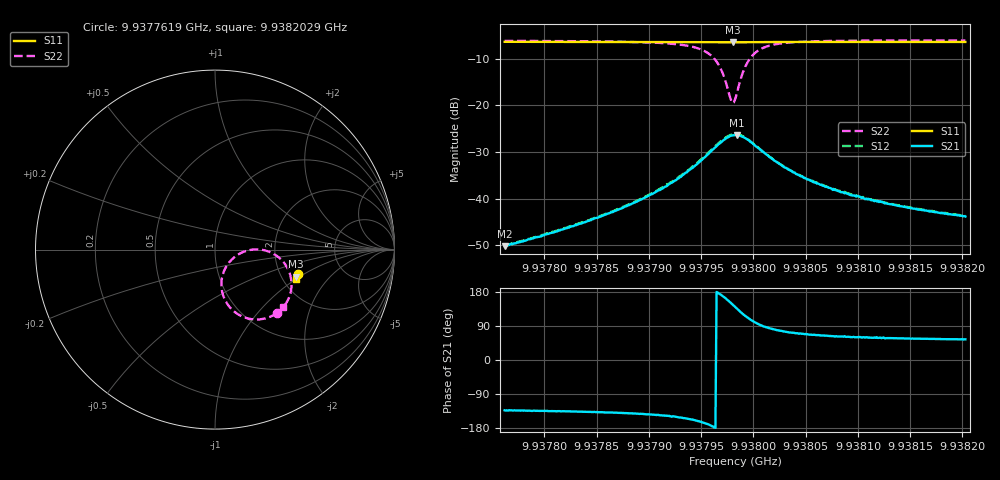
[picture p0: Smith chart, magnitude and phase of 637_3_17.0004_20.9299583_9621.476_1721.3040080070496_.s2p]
#  HZ  S  RI  R  50.00
! Rohde & Schwarz Vector Network Analyzer
! Rohde-Schwarz,ZNB20-2Port,1311601062101988,3.16
! Created: UTC 3/20/2024, 11:20:41 PM
! freq[Hz]  re:S11  im:S11  re:S21  im:S21  re:S12  im:S12  re:S22  im:S22
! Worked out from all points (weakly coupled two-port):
!   401 points, 9.9377619 GHz to 9.9382029 GHz, reference 50 ohm
!   highest |S21| = -26.34 dB at 9.9379846 GHz (marker M1); lowest = -50.2 dB at 9.9377619 GHz (marker M2)
!   lowest |S11| = -6.5 dB at 9.9379802 GHz (marker M3), VSWR 2.81, Z = 119 - j46.4 ohm
!   |S11| at or under -10 dB: nowhere
!   |S22| runs from -19.5 to -6.1 dB; largest |S21 - S12| = 0.0022
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9.93776187e9  0.4613 -0.1386  -0.00209 -0.00226  -0.00214 -0.00226  0.3449 -0.3529
9.93783573e9  0.4592 -0.1437  -0.00391 -0.00374  -0.00408 -0.00376  0.3241 -0.3657
9.93787432e9  0.458 -0.1466  -0.00603 -0.00509  -0.00622 -0.00513  0.3033 -0.3754
9.9379096e9  0.4567 -0.1491  -0.0101 -0.007  -0.0104 -0.00694  0.2663 -0.3862
9.93794047e9  0.4549 -0.1515  -0.0193 -0.00826  -0.0198 -0.00821  0.1898 -0.3851
9.93795811e9  0.4529 -0.1524  -0.0309 -0.00467  -0.0317 -0.00408  0.0998 -0.339
9.93796362e9  0.4522 -0.1525  -0.0355 -0.000626  -0.0366 0.000283  0.0663 -0.2993
9.93796803e9  0.4515 -0.1521  -0.0391 0.00425  -0.0403 0.00557  0.0445 -0.2525
9.93797244e9  0.451 -0.1517  -0.0416 0.0114  -0.0426 0.013  0.0354 -0.1913
9.93797795e9  0.4507 -0.1509  -0.0414 0.0224  -0.0416 0.0243  0.0573 -0.1043
9.93798016e9  0.4505 -0.1505  -0.0396 0.0266  -0.0395 0.0288  0.0787 -0.0715
9.93798236e9  0.4509 -0.15  -0.0371 0.0307  -0.0368 0.0327  0.1068 -0.0433
9.93798457e9  0.4511 -0.1496  -0.0339 0.0342  -0.0331 0.0362  0.1394 -0.0213
9.93798898e9  0.4518 -0.1491  -0.0256 0.0386  -0.0246 0.0403  0.2113 0.00026
9.93799339e9  0.4526 -0.149  -0.0176 0.04  -0.0163 0.041  0.2774 -0.00418
9.9379989e9  0.4535 -0.1494  -0.00917 0.0382  -0.00792 0.0389  0.3407 -0.0324
9.93800441e9  0.4541 -0.15  -0.00316 0.0348  -0.00212 0.0353  0.3811 -0.0687
9.93802205e9  0.4547 -0.1523  0.00467 0.0244  0.00522 0.0243  0.4243 -0.165
9.93805623e9  0.4543 -0.1555  0.00614 0.014  0.00648 0.0142  0.4187 -0.2493
9.93809371e9  0.4533 -0.1586  0.00539 0.00941  0.00565 0.00952  0.4042 -0.2853
9.93813009e9  0.4525 -0.1611  0.00465 0.00737  0.00483 0.00741  0.394 -0.3029
9.93820286e9  0.4504 -0.1661  0.00373 0.00522  0.00391 0.00523  0.3801 -0.3218
